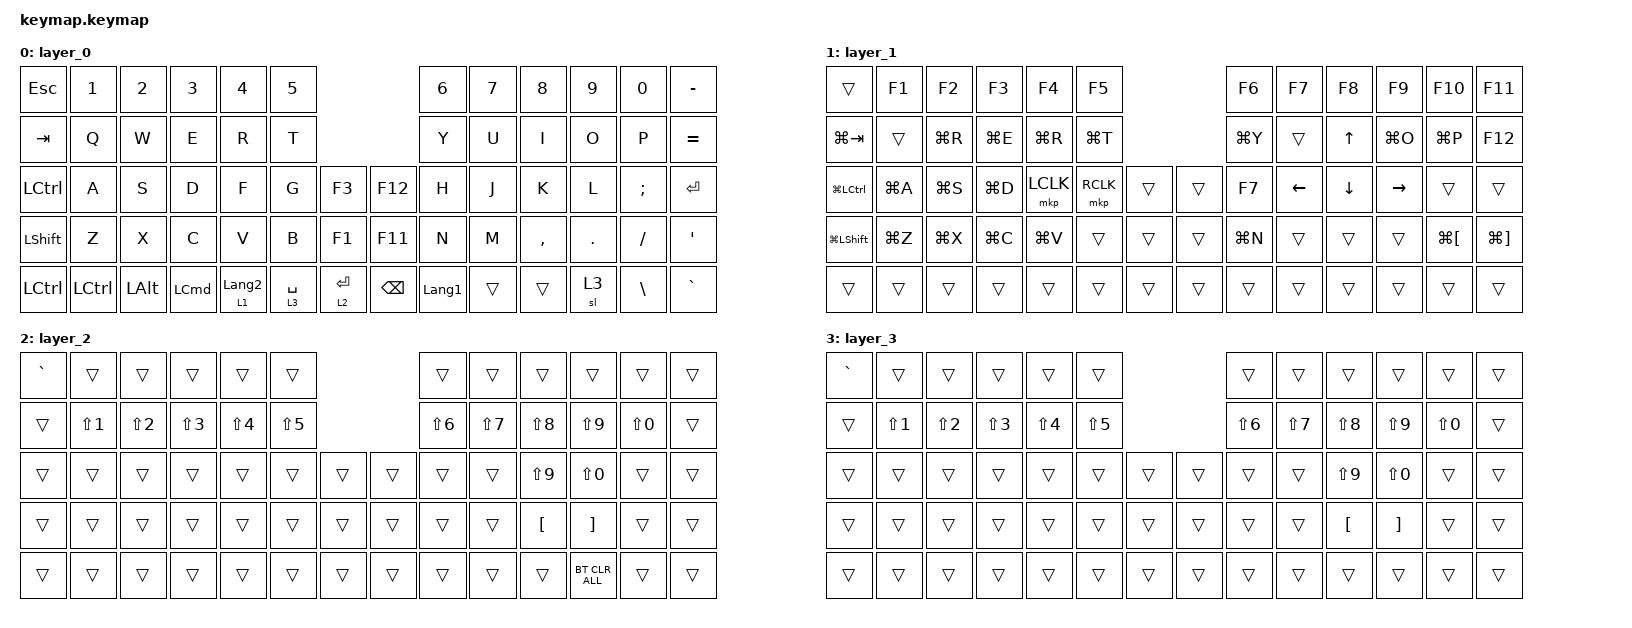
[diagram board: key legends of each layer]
#include <input/processors.dtsi>
#include <behaviors.dtsi>
#include <dt-bindings/zmk/bt.h>
#include <dt-bindings/zmk/keys.h>
#include <dt-bindings/zmk/pointing.h>

&trackball_listener {
    scroller {
        layers = <3>;
        input-processors = <
            &zip_xy_transform INPUT_TRANSFORM_X_INVERT
            &zip_xy_scaler 1 10
            &zip_xy_to_scroll_mapper
        >;
    };
};

/ {
    combos {
        compatible = "zmk,combos";

        bt_clear {
            bindings = <&bt BT_CLR>;
            key-positions = <28 29>;
            layers = <2>;
        };
    };

    keymap {
        compatible = "zmk,keymap";

        layer_0 {
            bindings = <
&kp ESC           &kp NUMBER_1  &kp NUMBER_2  &kp NUMBER_3      &kp NUMBER_4      &kp NUMBER_5                              &kp NUMBER_6    &kp NUMBER_7  &kp NUMBER_8  &kp NUMBER_9  &kp NUMBER_0   &kp MINUS
&kp TAB           &kp Q         &kp W         &kp E             &kp R             &kp T                                     &kp Y           &kp U         &kp I         &kp O         &kp P          &kp EQUAL
&kp LEFT_CONTROL  &kp A         &kp S         &kp D             &kp F             &kp G         &kp F3       &kp F12        &kp H           &kp J         &kp K         &kp L         &kp SEMI       &kp ENTER
&kp LSHFT         &kp Z         &kp X         &kp C             &kp V             &kp B         &kp F1       &kp F11        &kp N           &kp M         &kp COMMA     &kp DOT       &kp SLASH      &kp SQT
&kp LCTRL         &kp LCTRL     &kp LEFT_ALT  &kp LEFT_COMMAND  &lt 1 LANGUAGE_2  &lt 3 SPACE   &lt 2 ENTER  &kp BACKSPACE  &kp LANGUAGE_1  &trans        &trans        &sl 3         &kp BACKSLASH  &kp GRAVE
            >;
        };

        layer_1 {
            bindings = <
&trans                &kp F1     &kp F2     &kp F3     &kp F4     &kp F5                     &kp F6     &kp F7          &kp F8          &kp F9           &kp F10               &kp F11
&kp LG(TAB)           &trans     &kp LG(R)  &kp LG(E)  &kp LG(R)  &kp LG(T)                  &kp LG(Y)  &trans          &kp UP_ARROW    &kp LG(O)        &kp LG(P)             &kp F12
&kp LG(LEFT_CONTROL)  &kp LG(A)  &kp LG(S)  &kp LG(D)  &mkp LCLK  &mkp RCLK  &trans  &trans  &kp F7     &kp LEFT_ARROW  &kp DOWN_ARROW  &kp RIGHT_ARROW  &trans                &trans
&kp LG(LEFT_SHIFT)    &kp LG(Z)  &kp LG(X)  &kp LG(C)  &kp LG(V)  &trans     &trans  &trans  &kp LG(N)  &trans          &trans          &trans           &kp LG(LEFT_BRACKET)  &kp LG(RIGHT_BRACKET)
&trans                &trans     &trans     &trans     &trans     &trans     &trans  &trans  &trans     &trans          &trans          &trans           &trans                &trans
            >;
        };

        layer_2 {
            bindings = <
&kp GRAVE  &trans            &trans            &trans            &trans            &trans                            &trans            &trans            &trans            &trans             &trans            &trans
&trans     &kp LS(NUMBER_1)  &kp LS(NUMBER_2)  &kp LS(NUMBER_3)  &kp LS(NUMBER_4)  &kp LS(NUMBER_5)                  &kp LS(NUMBER_6)  &kp LS(NUMBER_7)  &kp LS(NUMBER_8)  &kp LS(NUMBER_9)   &kp LS(NUMBER_0)  &trans
&trans     &trans            &trans            &trans            &trans            &trans            &trans  &trans  &trans            &trans            &kp LS(NUMBER_9)  &kp LS(NUMBER_0)   &trans            &trans
&trans     &trans            &trans            &trans            &trans            &trans            &trans  &trans  &trans            &trans            &kp LEFT_BRACKET  &kp RIGHT_BRACKET  &trans            &trans
&trans            &trans            &trans            &trans            &trans            &trans            &trans  &trans  &trans            &trans            &trans            &bt BT_CLR_ALL     &trans  &trans
            >;
        };

        layer_3 {
            bindings = <
&kp GRAVE  &trans            &trans            &trans            &trans            &trans                            &trans            &trans            &trans            &trans             &trans            &trans
&trans     &kp LS(NUMBER_1)  &kp LS(NUMBER_2)  &kp LS(NUMBER_3)  &kp LS(NUMBER_4)  &kp LS(NUMBER_5)                  &kp LS(NUMBER_6)  &kp LS(NUMBER_7)  &kp LS(NUMBER_8)  &kp LS(NUMBER_9)   &kp LS(NUMBER_0)  &trans
&trans     &trans            &trans            &trans            &trans            &trans            &trans  &trans  &trans            &trans            &kp LS(NUMBER_9)  &kp LS(NUMBER_0)   &trans            &trans
&trans     &trans            &trans            &trans            &trans            &trans            &trans  &trans  &trans            &trans            &kp LEFT_BRACKET  &kp RIGHT_BRACKET  &trans            &trans
&trans     &trans            &trans            &trans            &trans            &trans            &trans  &trans  &trans            &trans            &trans            &trans             &trans            &trans
            >;
        };
    };
};
